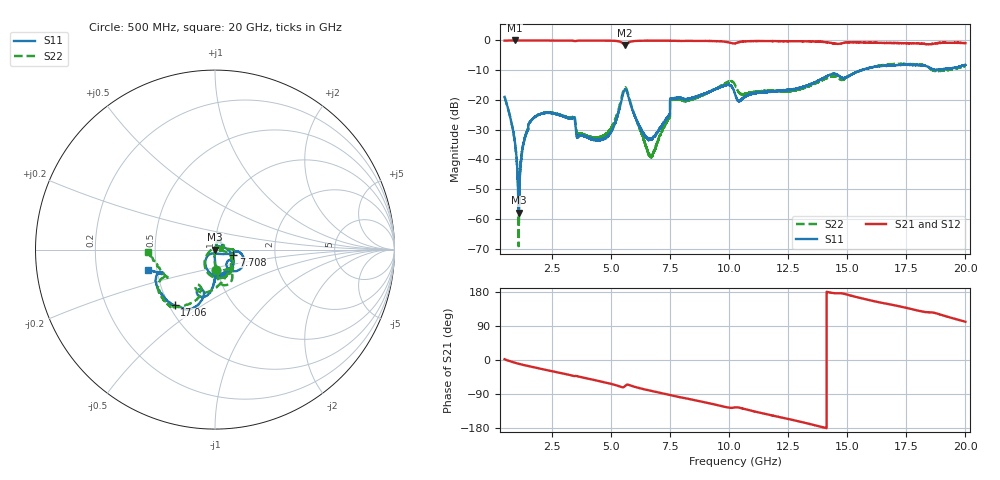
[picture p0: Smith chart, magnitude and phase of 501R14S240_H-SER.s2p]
!{501R14S240}
!Johanson Technology Inc.
!www.johansontechnology.com
!Test Board Conditions:
!Substrate Type  RO4350B
!Substrate Thickness  20 mil
!Substrate Dk  3.66
!TL Type: GCPW
!TL Trace Width  36 mil
!TL Gap  12 mil
!Electrode orientation  Horizontal
!DUT TOPOLOGY	SERIES
!Mounting Pad LxW  26x36 mil
! Created Wed Mar 11 16:05:43 2020
# mhz S ma R 50
! 2 Port Network Data from SP1.SP block
! freq  magS11  angS11  magS21  angS21  magS12  angS12  magS22  angS22
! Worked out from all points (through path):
!   19501 points, 500 MHz to 20 GHz, reference 50 ohm
!   highest |S21| = -0.01 dB at 934 MHz (marker M1); lowest = -1.5 dB at 5.606 GHz (marker M2)
!   group delay of S21, straight-line fit = 35.9 ps
!   lowest |S11| = -57.8 dB at 1.103 GHz (marker M3), VSWR 1.00, Z = 50.1 + j0.0078 ohm
!   |S11| at or under -10 dB: start of sweep to 15.6 GHz; 15.5975 GHz to 15.59965 GHz (2.15 MHz wide, 0.0138 % of centre); 15.60145 GHz to 15.60246 GHz (1.007 MHz wide, 0.00645 % of centre) (the widest 3 of 4)
!   |S22| runs from -69.1 to -7.9 dB; largest |S21 - S12| = 0.021
!   S11 on the Smith chart (normalised r, x): 500 MHz: 0.99, -0.23; 7.708 GHz: 1.23, -0.07; 17.06 GHz: 0.53, -0.39; 20 GHz: 0.45, -0.12
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500  0.1127 -86.8  0.9912 2.0  0.9912 2.1  0.1128 -87.5
934  0.01988 -92.2  0.9993 -7.3  0.9975 -7.3  0.01951 -97.9
1031  0.007732 -87.5  0.9983 -9.0  0.9983 -8.9  0.006957 -96.1
1103  0.001281 3.5  0.9976 -10.1  0.9971 -10.1  0.0006397 43.8
1339  0.02172 74.3  0.9979 -13.7  0.9975 -13.7  0.02216 74.4
1779  0.05162 68.9  0.9963 -20.0  0.9975 -20.0  0.05178 69.7
3374  0.04975 46.8  0.9904 -41.4  0.9904 -41.3  0.05186 37.1
3598  0.02383 46.0  0.99 -43.1  0.9905 -43.1  0.02717 20.5
3750  0.02552 56.7  0.9941 -45.4  0.9945 -45.4  0.02712 24.3
4868  0.02477 50.6  0.9915 -60.9  0.992 -60.8  0.02895 -9.9
5606  0.1517 -71.5  0.838 -68.1  0.8376 -68.1  0.1631 -75.5
6242  0.03477 -136.6  0.9873 -74.8  0.9861 -74.8  0.03063 -162.9
6629  0.02194 -97.1  0.9905 -80.5  0.9909 -80.5  0.01227 133.3
7000  0.02964 -50.9  0.9916 -85.7  0.9923 -85.7  0.02099 45.8
7708  0.1057 -15.0  0.9838 -95.4  0.9846 -95.3  0.1019 -4.0
9918  0.1781 -29.4  0.9388 -125.0  0.9389 -125.0  0.1976 -62.5
10250  0.1263 -55.4  0.8946 -125.1  0.8945 -125.0  0.1795 -83.5
10584  0.107 -33.5  0.9617 -128.2  0.9591 -128.1  0.1242 -65.9
13500  0.1876 -92.1  0.9613 -170.2  0.9675 -170.3  0.1792 -76.1
16750  0.3759 -121.9  0.9058 147.5  0.8986 147.0  0.3959 -125.8
17060  0.3838 -126.0  0.9035 143.5  0.8992 143.2  0.4013 -128.5
20000  0.3872 -163.3  0.9013 100.9  0.9034 101.2  0.3733 -178.0
